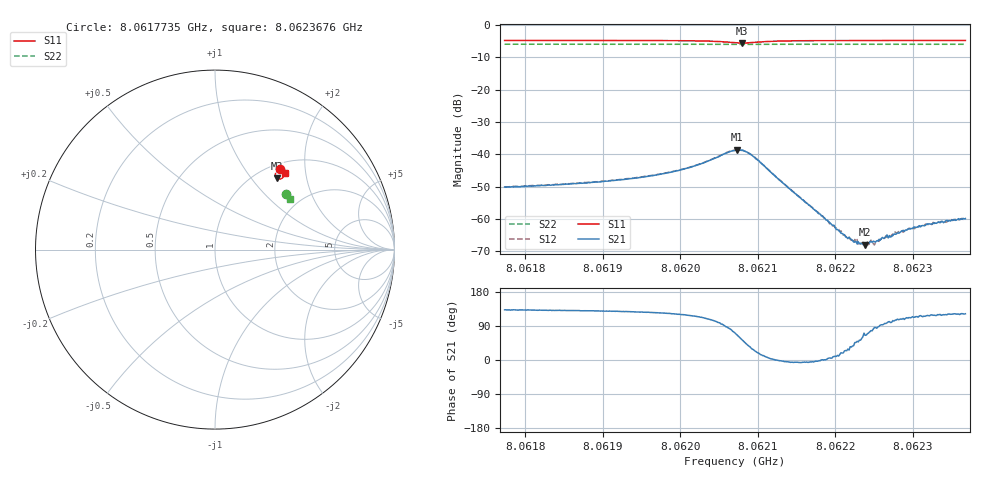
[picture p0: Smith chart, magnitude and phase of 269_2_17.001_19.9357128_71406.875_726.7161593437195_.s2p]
#  HZ  S  RI  R  50.00
! Rohde & Schwarz Vector Network Analyzer
! Rohde-Schwarz,ZNB20-2Port,1311601062101988,3.16
! Created: UTC 3/20/2024, 11:04:06 PM
! freq[Hz]  re:S11  im:S11  re:S21  im:S21  re:S12  im:S12  re:S22  im:S22
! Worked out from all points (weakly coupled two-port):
!   401 points, 8.0617735 GHz to 8.0623676 GHz, reference 50 ohm
!   highest |S21| = -38.59 dB at 8.0620735 GHz (marker M1); lowest = -68.0 dB at 8.0622384 GHz (marker M2)
!   lowest |S11| = -5.6 dB at 8.0620794 GHz (marker M3), VSWR 3.22, Z = 61.5 + j67.7 ohm
!   |S11| at or under -10 dB: nowhere
!   |S22| runs from -6.0 to -6.0 dB; largest |S21 - S12| = 0.00093
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8.06177352e9  0.3625 0.4474  -0.0021 0.0023  -0.00195 0.00241  0.3978 0.3087
8.06187302e9  0.3695 0.4412  -0.00228 0.00273  -0.00215 0.0029  0.4013 0.3036
8.06192648e9  0.3737 0.4369  -0.00251 0.0032  -0.00236 0.00339  0.4032 0.3009
8.06197252e9  0.3779 0.4315  -0.00274 0.00402  -0.00249 0.00422  0.4049 0.2985
8.06201707e9  0.3821 0.4214  -0.00287 0.00588  -0.00255 0.00605  0.4065 0.296
8.06207054e9  0.3586 0.3928  0.00369 0.0109  0.00455 0.0107  0.4066 0.2925
8.06207351e9  0.3539 0.3934  0.00488 0.0107  0.00552 0.0103  0.4066 0.2923
8.06207945e9  0.3448 0.3977  0.00677 0.00924  0.00741 0.00896  0.4063 0.2925
8.06208836e9  0.3367 0.41  0.00827 0.00618  0.00876 0.00576  0.4065 0.2928
8.06209578e9  0.3364 0.4208  0.00819 0.00373  0.00842 0.00328  0.4069 0.2929
8.06217004e9  0.3674 0.4384  0.0015 -0.00012  0.00149 -0.000204  0.4112 0.2897
8.06221311e9  0.3743 0.4355  0.00048 0.000224  0.000486 0.000236  0.4128 0.2874
8.06222499e9  0.3759 0.4348  0.000304 0.000315  0.000375 0.000303  0.4131 0.2868
8.06223241e9  0.3767 0.4341  0.000256 0.000333  0.000218 0.000354  0.4135 0.2863
8.06223835e9  0.3774 0.4339  0.000167 0.000362  0.000202 0.000386  0.4135 0.2861
8.06225172e9  0.3787 0.433  3.29e-05 0.000439  0.000104 0.000419  0.4141 0.2854
8.06226212e9  0.3796 0.4323  -3.57e-05 0.000498  -4.99e-05 0.000492  0.4145 0.2848
8.06226954e9  0.3805 0.4317  -0.00011 0.000543  -6.86e-05 0.000525  0.4148 0.2846
8.06227994e9  0.3813 0.4313  -0.000185 0.000579  -0.000116 0.000604  0.4151 0.2839
8.06230667e9  0.3834 0.4297  -0.000295 0.000693  -0.000289 0.000707  0.416 0.2824
8.06233489e9  0.3854 0.428  -0.000444 0.000755  -0.000359 0.000807  0.417 0.281
8.06236756e9  0.3877 0.4261  -0.000535 0.000856  -0.000514 0.000903  0.418 0.2793
